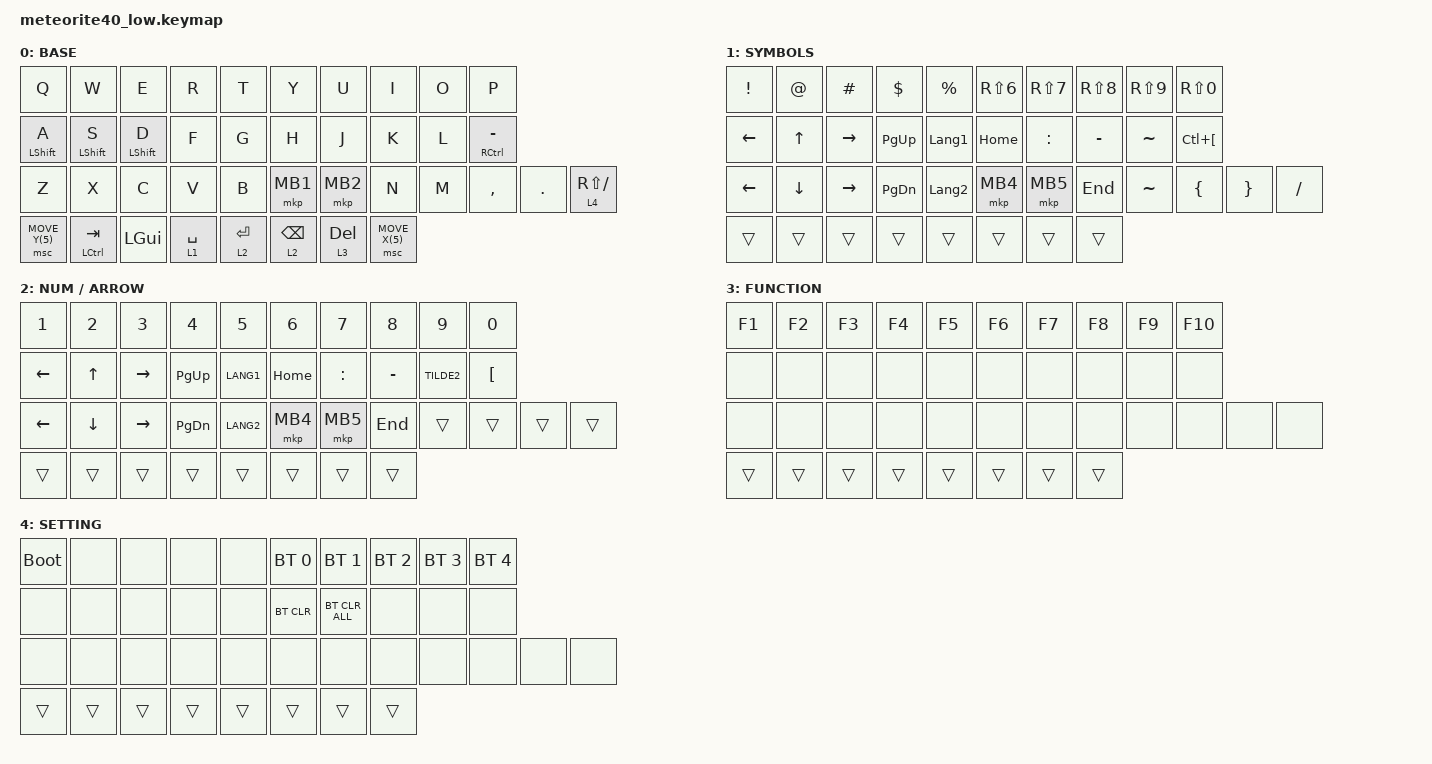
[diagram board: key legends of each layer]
#include <behaviors.dtsi>
#include <dt-bindings/zmk/bt.h>
#include <dt-bindings/zmk/keys.h>
#include <dt-bindings/zmk/pointing.h>

&mt {
    flavor = "tap-preferred"; // change hold to tap
    tapping-term-ms = <200>;
    quick-tap-ms = <150>; // change 200 to 150
};

&lt {
    flavor = "tap-preferred";
    tapping-term-ms = <150>; // change 200 to 150
    quick-tap-ms = <150>; // change 200 to 150
};

/ {
    combos {
        compatible = "zmk,combos";

        lang1 {
            bindings = <&kp LANG1>;
            key-positions = <12 13>; /* D + F */
            layers = <0>;
        };

        lang2 {
            bindings = <&kp LANG2>;
            key-positions = <16 17>; /* J + K */
            layers = <0>;
        };

        esc {
            bindings = <&kp ESCAPE>;
            key-positions = <20 21>; /* Z + X */
            layers = <0>;
        };

        tab {
            bindings = <&kp TAB>;
            key-positions = <0 1>; /* Q + W */
            layers = <0>;
        };

        home {
            bindings = <&kp HOME>;
            key-positions = <16 17>; /* J + K (on layer 2) */
            layers = <2>;
        };

        end {
            bindings = <&kp END>;
            key-positions = <18 19>; /* L + - (on layer 2) */
            layers = <2>;
        };

        ctrl_home {
            bindings = <&kp LC(HOME)>;
            key-positions = <16 18>; /* J + L (on layer 2) */
            layers = <2>;
        };

        ctrl_end {
            bindings = <&kp LC(END)>;
            key-positions = <17 19>; /* K + - (on layer 2) */
            layers = <2>;
        };
    };

    keymap {
        compatible = "zmk,keymap";
        layout = &LOW_PROFILE_DEFAULT;

        win_default_layer {
            display-name = "BASE";
            bindings = <
&kp Q           &kp W             &kp E             &kp R        &kp T        &kp Y       &kp U      &kp I           &kp O  &kp P
&mt LSHIFT A    &mt LEFT_SHIFT S  &mt LEFT_SHIFT D  &kp F        &kp G        &kp H       &kp J      &kp K           &kp L  &mt RIGHT_CONTROL MINUS
&kp Z           &kp X             &kp C             &kp V        &kp B        &mkp MB1    &mkp MB2   &kp N           &kp M  &kp COMMA                &kp DOT  &lt 4 RS(SLASH)
&msc MOVE_Y(5)  &mt LCTRL TAB     &kp LEFT_GUI      &lt 1 SPACE  &lt 2 ENTER  &lt 2 BSPC  &lt 3 DEL  &msc MOVE_X(5)
            >;
        };

        layer_1 {
            display-name = "SYMBOLS";
            bindings = <
&kp EXCL  &kp AT        &kp HASH         &kp DLLR       &kp PRCNT       &kp RS(NUMBER_6)  &kp RS(N7)  &kp RS(N8)  &kp RS(N9)  &kp RS(N0)
&kp LEFT  &kp UP_ARROW  &kp RIGHT        &kp PAGE_UP    &kp LANGUAGE_1  &kp HOME          &kp COLON   &kp MINUS   &kp TILDE   &kp LC(LEFT_BRACKET)
&kp LEFT  &kp DOWN      &kp RIGHT_ARROW  &kp PAGE_DOWN  &kp LANGUAGE_2  &mkp MB4          &mkp MB5    &kp END     &kp TILDE   &kp LBRC              &kp RBRC  &kp SLASH
&trans    &trans        &trans           &trans         &trans          &trans            &trans      &trans
            >;
        };

        layer_2 {
            display-name = "NUM / ARROW";
            bindings = <
&kp NUMBER_1  &kp NUMBER_2  &kp NUMBER_3  &kp NUMBER_4   &kp N5     &kp NUMBER_6  &kp N7     &kp N8     &kp N9      &kp N0
&kp LEFT      &kp UP_ARROW  &kp RIGHT     &kp PAGE_UP    &kp LANG1  &kp HOME      &kp COLON  &kp MINUS  &kp TILDE2  &kp LEFT_BRACKET
&kp LEFT      &kp DOWN      &kp RIGHT     &kp PAGE_DOWN  &kp LANG2  &mkp MB4      &mkp MB5   &kp END    &trans      &trans            &trans  &trans
&trans        &trans        &trans        &trans         &trans     &trans        &trans     &trans
            >;
        };

        layer_3 {
            display-name = "FUNCTION";
            bindings = <
&kp F1  &kp F2  &kp F3  &kp F4  &kp F5  &kp F6  &kp F7  &kp F8  &kp F9  &kp F10
&none   &none   &none   &none   &none   &none   &none   &none   &none   &none
&none   &none   &none   &none   &none   &none   &none   &none   &none   &none    &none  &none
&trans  &trans  &trans  &trans  &trans  &trans  &trans  &trans
            >;
        };

        layer_4 {
            display-name = "SETTING";
            bindings = <
&bootloader  &none   &none   &none   &none   &bt BT_SEL 0  &bt BT_SEL 1    &bt BT_SEL 2  &bt BT_SEL 3  &bt BT_SEL 4
&none        &none   &none   &none   &none   &bt BT_CLR    &bt BT_CLR_ALL  &none         &none         &none
&none        &none   &none   &none   &none   &none         &none           &none         &none         &none         &none  &none
&trans       &trans  &trans  &trans  &trans  &trans        &trans          &trans
            >;
        };
    };
};
